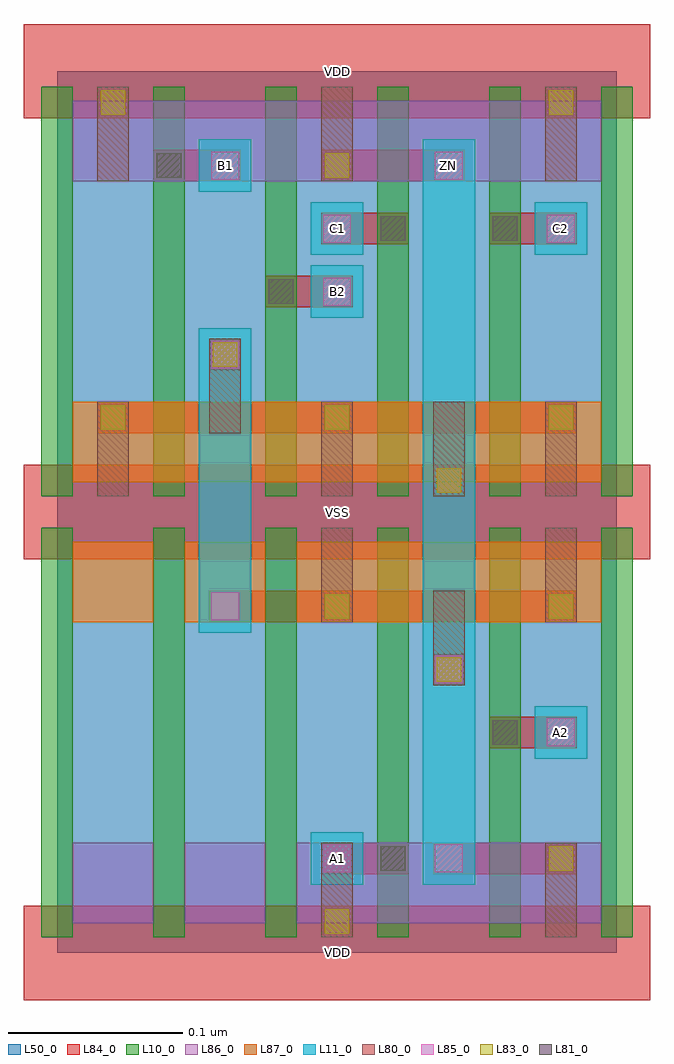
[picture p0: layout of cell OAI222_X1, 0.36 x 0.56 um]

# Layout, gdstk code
import gdstk
lib = gdstk.Library(unit=1e-6, precision=1e-09)
def R(c, l, rs):  # rectangles x0, y0, x1, y1
    for r in rs: c.add(gdstk.rectangle(r[:2], r[2:], *l))
def A(c, l, x, y, w, h, nx, ny, dx, dy):  # array of equal rectangles
    R(c, l, [(x+i*dx, y+j*dy, x+i*dx+w, y+j*dy+h) for i in range(nx) for j in range(ny)])
L10_0 = (10, 0)
L11_0 = (11, 0)
L50_0 = (50, 0)
L80_0 = (80, 0)
L81_0 = (81, 0)
L83_0 = (83, 0)
L84_0 = (84, 0)
L85_0 = (85, 0)
L86_0 = (86, 0)
L87_0 = (87, 0)

oai222_x1 = lib.new_cell('OAI222_X1')
A(oai222_x1, L10_0, -0.009, 0.009, 0.018, 0.234, 6, 2, 0.064, 0.252)
R(oai222_x1, L11_0, [(0.145,0.039,0.175,0.069), (0.209,0.039,0.239,0.465), (0.273,0.111,0.303,0.141), (0.081,0.183,0.111,0.357), (0.145,0.363,0.175,0.393), (0.145,0.399,0.175,0.429), (0.273,0.399,0.303,0.429), (0.081,0.435,0.111,0.465)])
R(oai222_x1, L50_0, [(0,0,0.32,0.504)])
A(oai222_x1, L80_0, 0.151, 0.261, 0.018, 0.054, 3, 1, 0.064, 0)
A(oai222_x1, L80_0, 0.023, 0.441, 0.018, 0.054, 3, 1, 0.128, 0)
R(oai222_x1, L80_0, [(0.151,0.009,0.169,0.063), (0.279,0.009,0.297,0.063), (0.215,0.153,0.233,0.207), (0.151,0.189,0.169,0.243), (0.279,0.189,0.297,0.243), (0.023,0.261,0.041,0.315), (0.087,0.297,0.105,0.351)])
R(oai222_x1, L81_0, [(0.185,0.047,0.199,0.061), (0.249,0.119,0.263,0.133), (0.121,0.371,0.135,0.385), (0.185,0.407,0.199,0.421), (0.249,0.407,0.263,0.421), (0.057,0.443,0.071,0.457)])
A(oai222_x1, L83_0, 0.025, 0.299, 0.014, 0.014, 3, 1, 0.128, 0)
R(oai222_x1, L83_0, [(0.153,0.011,0.167,0.025), (0.281,0.047,0.295,0.061), (0.217,0.155,0.231,0.169), (0.153,0.191,0.167,0.205), (0.281,0.191,0.295,0.205), (0.217,0.263,0.231,0.277), (0.089,0.335,0.103,0.349), (0.153,0.443,0.167,0.457), (0.025,0.479,0.039,0.493), (0.281,0.479,0.295,0.493)])
A(oai222_x1, L84_0, -0.019, -0.027, 0.358, 0.054, 1, 3, 0, 0.252)
R(oai222_x1, L84_0, [(0.151,0.045,0.201,0.063), (0.215,0.045,0.297,0.063), (0.247,0.117,0.297,0.135), (0.215,0.153,0.233,0.171), (0.087,0.189,0.297,0.207), (0.023,0.297,0.297,0.315), (0.087,0.333,0.105,0.351), (0.119,0.369,0.169,0.387), (0.151,0.405,0.201,0.423), (0.247,0.405,0.297,0.423), (0.055,0.441,0.105,0.459), (0.151,0.441,0.233,0.459)])
R(oai222_x1, L85_0, [(0.152,0.046,0.168,0.062), (0.216,0.046,0.232,0.062), (0.28,0.118,0.296,0.134), (0.216,0.154,0.232,0.17), (0.088,0.19,0.104,0.206), (0.088,0.334,0.104,0.35), (0.152,0.37,0.168,0.386), (0.152,0.406,0.168,0.422), (0.28,0.406,0.296,0.422), (0.088,0.442,0.104,0.458), (0.216,0.442,0.232,0.458)])
R(oai222_x1, L86_0, [(0.009,0.017,0.055,0.063), (0.073,0.017,0.119,0.063), (0.137,0.017,0.311,0.063), (0.009,0.441,0.311,0.487)])
R(oai222_x1, L87_0, [(0.009,0.189,0.055,0.235), (0.073,0.189,0.119,0.235), (0.137,0.189,0.311,0.235), (0.009,0.269,0.311,0.315)])
oai222_x1.add(gdstk.Label('VSS', (0.16,0.252), layer=88, texttype=0))
oai222_x1.add(gdstk.Label('VDD', (0.16,0), layer=88, texttype=0))
oai222_x1.add(gdstk.Label('VDD', (0.16,0.504), layer=88, texttype=0))
oai222_x1.add(gdstk.Label('C2', (0.288,0.414), layer=31, texttype=0))
oai222_x1.add(gdstk.Label('B1', (0.096,0.45), layer=31, texttype=0))
oai222_x1.add(gdstk.Label('B2', (0.16,0.378), layer=31, texttype=0))
oai222_x1.add(gdstk.Label('A2', (0.288,0.126), layer=31, texttype=0))
oai222_x1.add(gdstk.Label('C1', (0.16,0.414), layer=31, texttype=0))
oai222_x1.add(gdstk.Label('A1', (0.16,0.054), layer=31, texttype=0))
oai222_x1.add(gdstk.Label('ZN', (0.224,0.45), layer=31, texttype=0))

lib.write_gds('OAI222_X1.gds')
